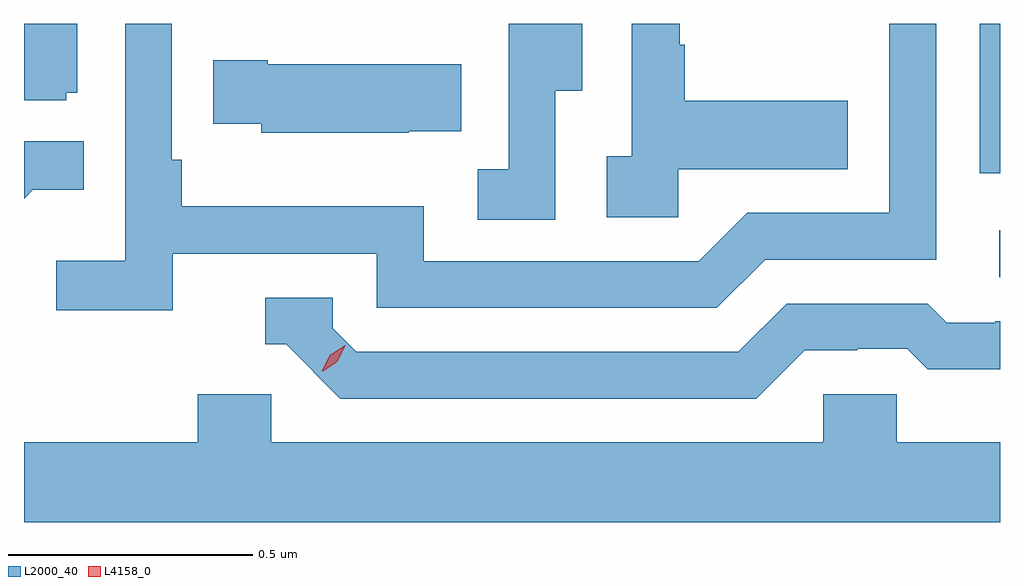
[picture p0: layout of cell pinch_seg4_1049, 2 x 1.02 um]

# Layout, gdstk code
import gdstk
lib = gdstk.Library(unit=1e-6, precision=1e-09)
def R(c, l, rs):  # rectangles x0, y0, x1, y1
    for r in rs: c.add(gdstk.rectangle(r[:2], r[2:], *l))
def P(c, l, *ps):  # polygons
    for p in ps: c.add(gdstk.Polygon(p, *l))
L2000_40 = (2000, 40)
L4158_0 = (4158, 0)

pinch_seg4_1049 = lib.new_cell('pinch_seg4_1049')
R(pinch_seg4_1049, L2000_40, [(827.397,770.682,827.399,770.778), (827.358,770.895,827.399,771.201)])
P(pinch_seg4_1049, L2000_40, [(826.488,771.064),(826.543,771.064),(826.543,771.201),(826.392,771.201),(826.392,770.903),(826.329,770.903),(826.329,770.8),(826.488,770.8)],
  [(826.74,770.903),(827.087,770.903),(827.087,771.043),(826.753,771.043),(826.753,771.158),(826.743,771.158),(826.743,771.201),(826.644,771.201),(826.644,770.93),(826.593,770.93),(826.593,770.805),(826.74,770.805)],
  [(825.704,770.73),(826.122,770.73),(826.122,770.619),(826.819,770.619),(826.918,770.718),(827.268,770.718),(827.268,771.201),(827.172,771.201),(827.172,770.814),(826.881,770.814),(826.782,770.715),(826.218,770.715),(826.218,770.827),(825.722,770.827),(825.722,770.923),(825.702,770.923),(825.702,771.201),(825.606,771.201),(825.606,770.716),(825.465,770.716),(825.465,770.614),(825.704,770.614)],
  [(825.486,771.06),(825.508,771.06),(825.508,771.201),(825.399,771.201),(825.399,771.045),(825.486,771.045)],
  [(826.187,770.981),(826.295,770.981),(826.295,771.118),(825.898,771.118),(825.898,771.126),(825.787,771.126),(825.787,770.996),(825.885,770.996),(825.885,770.978),(826.187,770.978)],
  [(825.417,770.861),(825.521,770.861),(825.521,770.96),(825.399,770.96),(825.399,770.843)],
  [(826.999,770.532),(827.106,770.532),(827.106,770.535),(827.209,770.535),(827.251,770.493),(827.399,770.493),(827.399,770.592),(827.389,770.592),(827.389,770.589),(827.29,770.589),(827.251,770.628),(826.962,770.628),(826.863,770.529),(826.08,770.529),(826.032,770.577),(826.032,770.64),(825.893,770.64),(825.893,770.544),(825.936,770.544),(826.047,770.433),(826.9,770.433)],
  [(827.399,770.344),(827.187,770.344),(827.187,770.442),(827.037,770.442),(827.037,770.344),(825.906,770.344),(825.906,770.442),(825.755,770.442),(825.755,770.344),(825.399,770.344),(825.399,770.18),(827.399,770.18)])
P(pinch_seg4_1049, L4158_0, [(826.01,770.489),(826.01,770.49),(826.026,770.522),(826.057,770.542),(826.057,770.542),(826.057,770.542),(826.041,770.509),(826.011,770.489)])

lib.write_gds('pinch_seg4_1049.gds')
